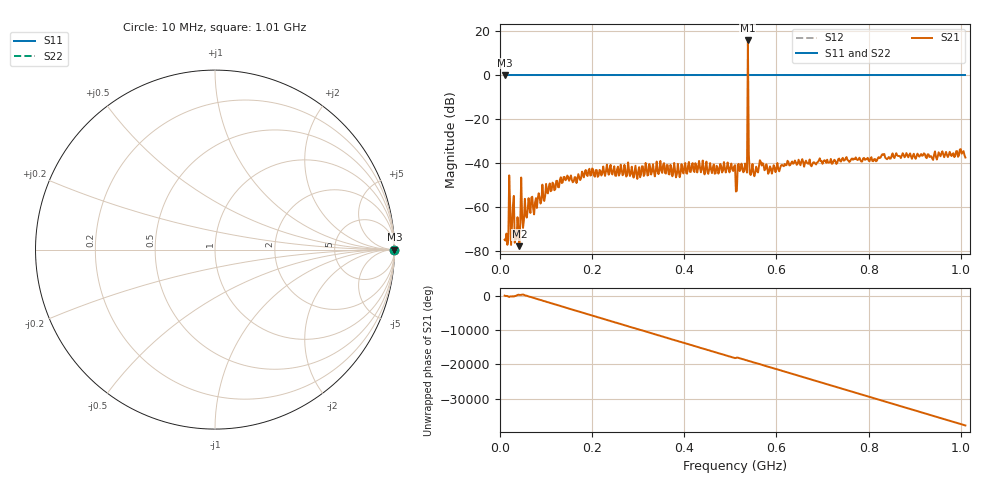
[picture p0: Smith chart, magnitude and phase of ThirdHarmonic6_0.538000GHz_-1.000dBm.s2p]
! 8/15/2025 4:52:08 PM
! C:\ANRITSUVNA\TEMP\TEMP.S2P
! CHANNEL.1
! TR.MEASUREMENT
! RAW.DATA
! RF.CORRECTION.OFF
! AVERAGING.OFF
! IF.BANDWIDTH: 5KHZ
! SWEEPTYPE:  FREQ.SWEEP(Linear)
! Reference Plane Port Info
! PORT:  PORT1  PORT2
! DISTANCE:  0  m  0  m
! TIME:  0  s  0  s
! PHASE.OFFSET:  0  deg.  0  deg.
! LOSS:  0  dB  0  dB
! REF.LOSS:  0  dB  0  dB
! REF.FREQ:  0  Hz  0  Hz
! Power Info
! POWER:  -20  dBm  -20  dBm
! EFF.POWER:  -20  dBm  -20  dBm
! SOURCE.ATTEN:  0  dB  0  dB
! TEST.ATTEN:  0  dB  0  dB
# GHZ S RI R 50.0
! FREQ.GHZ  S11RE  S11IM  S21RE  S21IM  S12RE  S12IM  S22RE  S22IM
!; PortSelection: Port_12
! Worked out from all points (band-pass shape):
!   501 points, 10 MHz to 1.01 GHz, reference 50 ohm
!   highest |S21| = 15.69 dB at 538 MHz (marker M1); lowest = -78.0 dB at 42 MHz (marker M2)
!   |S21| within 3 dB of the highest: 537.9002 MHz to 538.1154 MHz (215.2 kHz wide, 0.04 % of centre)
!   lowest |S11| = 0.0 dB at 10 MHz (marker M3)
!   |S11| at or under -10 dB: nowhere
!   |S22| runs from 0.0 to 0.0 dB; largest |S21 - S12| = 6.7
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0.01  1 0  4.79e-05 0.000171  1 0  1 0
0.014  1 0  0.000239 -5.19e-05  1 0  1 0
0.018  1 0  -0.000168 -4.19e-05  1 0  1 0
0.024  1 0  -0.000109 -7.92e-05  1 0  1 0
0.036  1 0  -0.000127 0.000133  1 0  1 0
0.04  1 0  0.000295 2.91e-05  1 0  1 0
0.042  1 0  3.98e-05 -0.00012  1 0  1 0
0.05  1 0  0.000265 0.000195  1 0  1 0
0.104  1 0  0.00141 -0.00143  1 0  1 0
0.178  1 0  -0.00612 -0.00146  1 0  1 0
0.344  1 0  0.00549 0.000524  1 0  1 0
0.506  1 0  0.00645 -0.000742  1 0  1 0
0.51  1 0  -0.00883 -0.000303  1 0  1 0
0.52  1 0  -0.00481 0.00433  1 0  1 0
0.532  1 0  0.00848 0.00452  1 0  1 0
0.534  1 0  0.00222 -0.0076  1 0  1 0
0.538  1 0  -3.75 4.796  1 0  1 0
0.542  1 0  0.00519 -0.00274  1 0  1 0
0.544  1 0  -0.000313 -0.00525  1 0  1 0
0.678  1 0  0.0065 -0.00667  1 0  1 0
0.844  1 0  -0.00691 0.0116  1 0  1 0
1.01  1 0  0.00656 -0.0114  1 0  1 0
